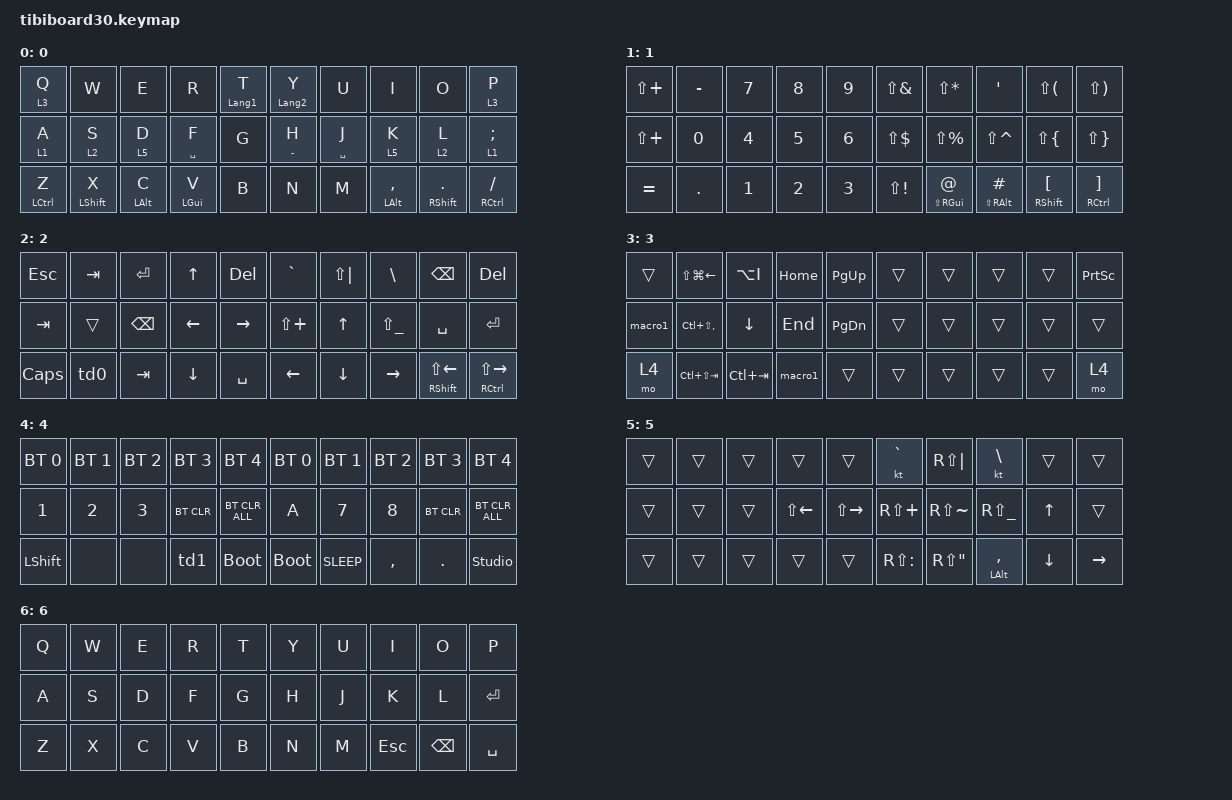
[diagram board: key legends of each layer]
#include <behaviors.dtsi>
#include <dt-bindings/zmk/bt.h>
#include <dt-bindings/zmk/keys.h>

#define ZERO 0
#define ICHI 1
#define NI 2
#define SAN 3
#define SI 4
#define GO 5
#define ROKU 6

// Behavior Overrides

/ {
    behaviors {
        td0: tap_dance_0 {
            compatible = "zmk,behavior-tap-dance";
            #binding-cells = <0>;
            tapping-term-ms = <200>;
            bindings = <&kp N1>, <&kp N2>, <&kp N3>;
        };

        td1: td1 {
            compatible = "zmk,behavior-tap-dance";
            label = "TD1";
            #binding-cells = <0>;
            bindings = <&kp F20>, <&kp F21>, <&kp F22>;
        };
    };

    combos {
        compatible = "zmk,combos";

        combo_vibe_layer_off {
            timeout-ms = <50>;
            key-positions = <0 1 2 3 >; // 
            bindings = <&kp F19>; // F19キーを送信
        };

        f1 {
            bindings = <&kp F1>;
            key-positions = <0 10>;
        };

        f2 {
            bindings = <&kp F2>;
            key-positions = <1 11>;
        };

        f3 {
            bindings = <&kp F3>;
            key-positions = <2 12>;
        };

        f4 {
            bindings = <&kp F4>;
            key-positions = <3 13>;
        };

        f5 {
            bindings = <&kp F5>;
            key-positions = <4 14>;
        };

        f6 {
            bindings = <&kp F6>;
            key-positions = <5 15>;
        };

        f7 {
            bindings = <&kp F7>;
            key-positions = <6 16>;
        };

        f8 {
            bindings = <&kp F8>;
            key-positions = <7 17>;
        };

        f9 {
            bindings = <&kp F9>;
            key-positions = <8 18>;
        };

        f10 {
            bindings = <&kp F10>;
            key-positions = <9 19>;
        };

        f11 {
            bindings = <&kp F11>;
            key-positions = <0 20>;
        };

        esc {
            bindings = <&kp ESC>;
            key-positions = <0 1>;
        };

        moodoru {
            bindings = <&kp LA(LEFT)>;
            key-positions = <11 21>;
        };

        susumu {
            bindings = <&kp LA(RIGHT)>;
            key-positions = <12 22>;
        };

        stop {
            bindings = <&kp C_PLAY_PAUSE>;
            key-positions = <13 23>;
        };

        enter {
            bindings = <&kp ENTER>;
            key-positions = <11 12>;
        };

        mainasu {
            bindings = <&kp MINUS>;
            key-positions = <8 9>;
        };

        layer5 {
            bindings = <&tog 5>;
            key-positions = <24 25>;
        };

        layer6 {
            bindings = <&tog 6>;
            key-positions = <23 26>;
        };

        tab {
            bindings = <&kp TAB>;
            key-positions = <10 11>;
        };

        f12 {
            bindings = <&kp F12>;
            key-positions = <1 21>;
        };

        qqq {
            bindings = <&macro1>;
            key-positions = <29 28>;
        };
    };

    macros {
        macro1: macro1 {
            compatible = "zmk,behavior-macro";
            #binding-cells = <0>;
            bindings = <&kp ENTER &kp LC(F20)>;
            label = "MACRO1";
        };
    };

    keymap {
        compatible = "zmk,keymap";

        layer_0 {
            display-name = "0";
            bindings = <
&lt 3 Q      &kp W        &kp E           &kp R           &mt LANGUAGE_1 T  &mt LANGUAGE_2 Y  &kp U        &kp I               &kp O              &lt 3 P
&lt 1 A      &lt 2 S      &lt 5 D         &mt SPACE F     &kp G             &mt MINUS H       &mt SPACE J  &lt 5 K             &lt 2 L            &lt 1 SEMICOLON
&mt LCTRL Z  &mt LSHFT X  &mt LEFT_ALT C  &mt LEFT_GUI V  &kp B             &kp N             &kp M        &mt LEFT_ALT COMMA  &mt RSHIFT PERIOD  &mt RCTRL SLASH
            >;
        };

        layer_1 {
            display-name = "1";
            bindings = <
&kp LS(PLUS)  &kp MINUS  &kp N7  &kp N8  &kp N9  &kp LS(AMPS)  &kp LS(STAR)          &kp SQT            &kp LS(LPAR)     &kp LS(RPAR)
&kp LS(PLUS)  &kp N0     &kp N4  &kp N5  &kp N6  &kp LS(DLLR)  &kp LS(PRCNT)         &kp LS(CARET)      &kp LS(LBRC)     &kp LS(RBRC)
&kp EQUAL     &kp DOT    &kp N1  &kp N2  &kp N3  &kp LS(EXCL)  &mt LS(RGUI) AT_SIGN  &mt LS(RALT) HASH  &mt RSHIFT LBKT  &mt RCTRL RBKT
            >;
        };

        layer_2 {
            display-name = "2";
            bindings = <
&kp ESC   &kp TAB  &kp ENTER  &kp UP    &kp DEL    &kp GRAVE     &kp LS(PIPE)  &kp BSLH       &kp BSPC             &kp DEL
&kp TAB   &trans   &kp BSPC   &kp LEFT  &kp RIGHT  &kp LS(PLUS)  &kp UP        &kp LS(UNDER)  &kp SPACE            &kp ENTER
&kp CLCK  &td0     &kp TAB    &kp DOWN  &kp SPACE  &kp LEFT      &kp DOWN      &kp RIGHT      &mt RSHIFT LS(LEFT)  &mt RCTRL LS(RIGHT)
            >;
        };

        layer_3 {
            display-name = "3";
            bindings = <
&trans   &kp LS(LG(LEFT))   &kp LA(I)    &kp HOME  &kp PAGE_UP    &trans  &trans  &trans  &trans  &kp PRINTSCREEN
&macro1  &kp LC(LS(COMMA))  &kp DOWN     &kp END   &kp PAGE_DOWN  &trans  &trans  &trans  &trans  &trans
&mo 4    &kp LC(LS(TAB))    &kp LC(TAB)  &macro1   &trans         &trans  &trans  &trans  &trans  &mo 4
            >;
        };

        layer_4 {
            display-name = "4";
            bindings = <
&bt BT_SEL 0  &bt BT_SEL 1  &bt BT_SEL 2  &bt BT_SEL 3  &bt BT_SEL 4    &bt BT_SEL 0  &bt BT_SEL 1  &bt BT_SEL 2  &bt BT_SEL 3  &bt BT_SEL 4
&kp N1        &kp N2        &kp N3        &bt BT_CLR    &bt BT_CLR_ALL  &kp A         &kp N7        &kp N8        &bt BT_CLR    &bt BT_CLR_ALL
&kp LSHFT     &none         &none         &td1          &bootloader     &bootloader   &kp C_SLEEP   &kp COMMA     &kp DOT       &studio_unlock
            >;
        };

        layer_5 {
            display-name = "5";
            bindings = <
&trans  &trans  &trans  &trans        &trans         &kt GRAVE      &kp RS(PIPE)           &kt BACKSLASH       &trans    &trans
&trans  &trans  &trans  &kp LS(LEFT)  &kp LS(RIGHT)  &kp RS(PLUS)   &kp RS(TILDE)          &kp RS(UNDER)       &kp UP    &trans
&trans  &trans  &trans  &trans        &trans         &kp RS(COLON)  &kp RS(DOUBLE_QUOTES)  &mt LEFT_ALT COMMA  &kp DOWN  &kp RIGHT
            >;
        };

        layer_6 {
            display-name = "6";
            bindings = <
&kp Q  &kp W  &kp E  &kp R  &kp T  &kp Y  &kp U  &kp I    &kp O     &kp P
&kp A  &kp S  &kp D  &kp F  &kp G  &kp H  &kp J  &kp K    &kp L     &kp RET
&kp Z  &kp X  &kp C  &kp V  &kp B  &kp N  &kp M  &kp ESC  &kp BSPC  &kp SPACE
            >;
        };
    };
};
